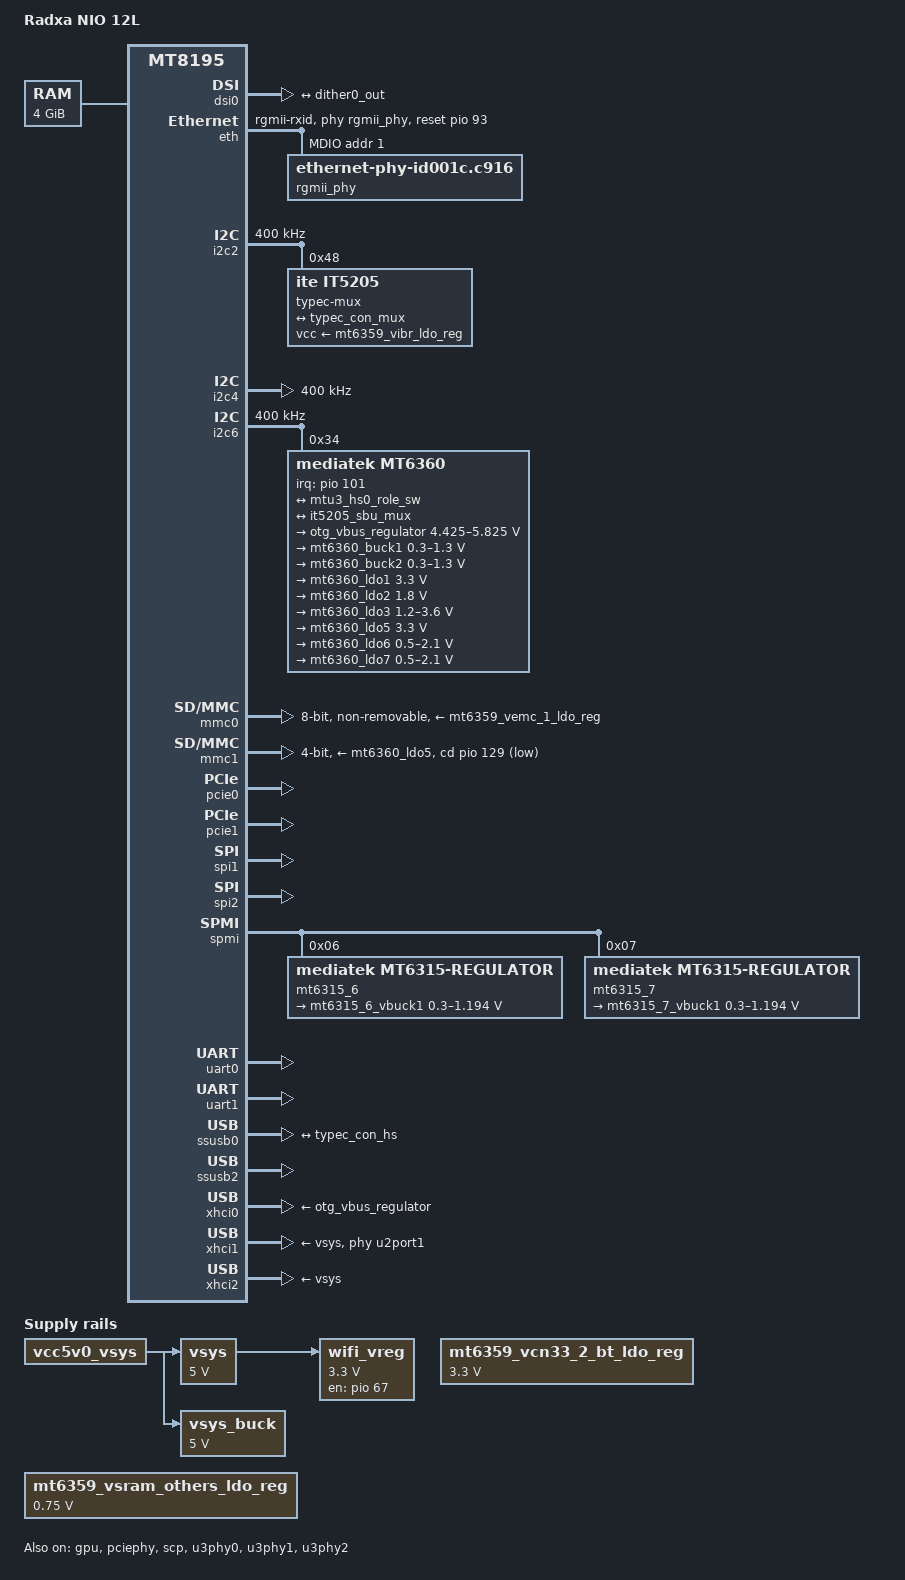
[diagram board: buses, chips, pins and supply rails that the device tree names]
// SPDX-License-Identifier: (GPL-2.0 OR MIT)
/*
 * Copyright (C) 2023 Radxa Limited
 * Copyright (C) 2024 Collabora Ltd.
 *                    AngeloGioacchino Del Regno <angelogioacchino.delregno@collabora.com>
 */

#include "mt8195.dtsi"
#include "mt6359.dtsi"
#include <dt-bindings/gpio/gpio.h>
#include <dt-bindings/interrupt-controller/irq.h>
#include <dt-bindings/pinctrl/mt8195-pinfunc.h>
#include <dt-bindings/regulator/mediatek,mt6360-regulator.h>
#include <dt-bindings/spmi/spmi.h>
#include <dt-bindings/usb/pd.h>

/ {
	model = "Radxa NIO 12L";
	chassis-type = "embedded";
	compatible = "radxa,nio-12l", "mediatek,mt8395", "mediatek,mt8195";

	aliases {
		i2c0 = &i2c2;
		i2c1 = &i2c3;
		i2c2 = &i2c4;
		i2c3 = &i2c0;
		i2c4 = &i2c1;
		ethernet0 = &eth;
		serial0 = &uart0;
		serial1 = &uart1;
		spi0 = &spi1;
		spi1 = &spi2;
	};

	chosen {
		stdout-path = "serial0:921600n8";
	};

	firmware {
		optee {
			compatible = "linaro,optee-tz";
			method = "smc";
		};
	};

	memory@40000000 {
		device_type = "memory";
		reg = <0 0x40000000 0x1 0x0>;
	};

	backlight: backlight {
		compatible = "pwm-backlight";
		brightness-levels = <0 1023>;
		default-brightness-level = <576>;
		enable-gpios = <&pio 107 GPIO_ACTIVE_HIGH>;
		num-interpolated-steps = <1023>;
		pinctrl-names = "default";
		pinctrl-0 = <&dsi0_backlight_pins>;
		pwms = <&disp_pwm0 0 500000>;
		status = "disabled";
	};

	wifi_vreg: regulator-wifi-3v3-en {
		compatible = "regulator-fixed";
		regulator-name = "wifi_3v3_en";
		regulator-always-on;
		regulator-min-microvolt = <3300000>;
		regulator-max-microvolt = <3300000>;
		enable-active-high;
		gpio = <&pio 67 GPIO_ACTIVE_HIGH>;
		pinctrl-names = "default";
		pinctrl-0 = <&wifi_vreg_pins>;
		vin-supply = <&vsys>;
	};

	/* system wide switching 5.0V power rail */
	vsys: regulator-vsys {
		compatible = "regulator-fixed";
		regulator-name = "vsys";
		regulator-always-on;
		regulator-boot-on;
		regulator-min-microvolt = <5000000>;
		regulator-max-microvolt = <5000000>;
		vin-supply = <&vcc5v0_vsys>;
	};

	vsys_buck: regulator-vsys-buck {
		compatible = "regulator-fixed";
		regulator-name = "vsys_buck";
		regulator-always-on;
		regulator-boot-on;
		regulator-min-microvolt = <5000000>;
		regulator-max-microvolt = <5000000>;
		vin-supply = <&vcc5v0_vsys>;
	};

	/* Rail from power-only "TYPE C DC" port */
	vcc5v0_vsys: regulator-vcc5v0-sys {
		compatible = "regulator-fixed";
		regulator-name = "vcc5v0_sys";
		regulator-always-on;
		regulator-boot-on;
	};

	reserved-memory {
		#address-cells = <2>;
		#size-cells = <2>;
		ranges;

		/*
		 * 12 MiB reserved for OP-TEE (BL32)
		 * +-----------------------+ 0x43e0_0000
		 * |      SHMEM 2MiB       |
		 * +-----------------------+ 0x43c0_0000
		 * |        | TA_RAM  8MiB |
		 * + TZDRAM +--------------+ 0x4340_0000
		 * |        | TEE_RAM 2MiB |
		 * +-----------------------+ 0x4320_0000
		 */
		optee_reserved: optee@43200000 {
			reg = <0 0x43200000 0 0xc00000>;
			no-map;
		};

		scp_mem: memory@50000000 {
			compatible = "shared-dma-pool";
			reg = <0 0x50000000 0 0x2900000>;
			no-map;
		};

		vpu_mem: memory@53000000 {
			compatible = "shared-dma-pool";
			reg = <0 0x53000000 0 0x1400000>; /* 20 MB */
		};

		/* 2 MiB reserved for ARM Trusted Firmware (BL31) */
		bl31_secmon_mem: memory@54600000 {
			reg = <0 0x54600000 0x0 0x200000>;
			no-map;
		};

		afe_mem: memory@60000000 {
			compatible = "shared-dma-pool";
			reg = <0 0x60000000 0 0x1100000>;
			no-map;
		};

		apu_mem: memory@62000000 {
			compatible = "shared-dma-pool";
			reg = <0 0x62000000 0 0x1400000>; /* 20 MB */
		};
	};
};

&cpu0 {
	cpu-supply = <&mt6359_vcore_buck_reg>;
};

&cpu1 {
	cpu-supply = <&mt6359_vcore_buck_reg>;
};

&cpu2 {
	cpu-supply = <&mt6359_vcore_buck_reg>;
};

&cpu3 {
	cpu-supply = <&mt6359_vcore_buck_reg>;
};

&cpu4 {
	cpu-supply = <&mt6315_6_vbuck1>;
};

&cpu5 {
	cpu-supply = <&mt6315_6_vbuck1>;
};

&cpu6 {
	cpu-supply = <&mt6315_6_vbuck1>;
};

&cpu7 {
	cpu-supply = <&mt6315_6_vbuck1>;
};

&dither0_out {
	remote-endpoint = <&dsi0_in>;
};

&dsi0 {
	#address-cells = <1>;
	#size-cells = <0>;

	ports {
		#address-cells = <1>;
		#size-cells = <0>;

		port@0 {
			reg = <0>;
			dsi0_in: endpoint {
				remote-endpoint = <&dither0_out>;
			};
		};

		port@1 {
			reg = <1>;
			dsi0_out: endpoint { };
		};
	};
};

&eth {
	phy-mode = "rgmii-rxid";
	phy-handle = <&rgmii_phy>;
	pinctrl-names = "default", "sleep";
	pinctrl-0 = <&eth_default_pins>;
	pinctrl-1 = <&eth_sleep_pins>;
	mediatek,tx-delay-ps = <2030>;
	mediatek,mac-wol;
	snps,reset-gpio = <&pio 93 GPIO_ACTIVE_HIGH>;
	snps,reset-delays-us = <0 20000 100000>;
	status = "okay";

	mdio {
		rgmii_phy: ethernet-phy@1 {
			compatible = "ethernet-phy-id001c.c916";
			reg = <0x1>;
		};
	};
};

&gpu {
	mali-supply = <&mt6315_7_vbuck1>;
	status = "okay";
};

&i2c2 {
	clock-frequency = <400000>;
	pinctrl-0 = <&i2c2_pins>;
	pinctrl-names = "default";
	status = "okay";

	typec-mux@48 {
		compatible = "ite,it5205";
		reg = <0x48>;

		mode-switch;
		orientation-switch;

		vcc-supply = <&mt6359_vibr_ldo_reg>;

		port {
			it5205_sbu_mux: endpoint {
				remote-endpoint = <&typec_con_mux>;
			};
		};
	};
};

&i2c4 {
	clock-frequency = <400000>;
	pinctrl-0 = <&i2c4_pins>;
	pinctrl-names = "default";
	status = "okay";

	/* I2C4 exposed at 39-pins MIPI-LCD connector */
};

&i2c6 {
	clock-frequency = <400000>;
	pinctrl-0 = <&i2c6_pins>;
	pinctrl-names = "default";
	status = "okay";

	mt6360: pmic@34 {
		compatible = "mediatek,mt6360";
		reg = <0x34>;
		interrupts-extended = <&pio 101 IRQ_TYPE_EDGE_FALLING>;
		interrupt-names = "IRQB";
		interrupt-controller;
		#interrupt-cells = <1>;
		pinctrl-0 = <&mt6360_pins>;

		charger {
			compatible = "mediatek,mt6360-chg";
			richtek,vinovp-microvolt = <14500000>;

			otg_vbus_regulator: usb-otg-vbus-regulator {
				regulator-name = "usb-otg-vbus";
				regulator-min-microvolt = <4425000>;
				regulator-max-microvolt = <5825000>;
			};
		};

		regulator {
			compatible = "mediatek,mt6360-regulator";
			LDO_VIN1-supply = <&vsys_buck>;
			LDO_VIN3-supply = <&mt6360_buck2>;

			mt6360_buck1: buck1 {
				regulator-name = "emi_vdd2";
				regulator-min-microvolt = <300000>;
				regulator-max-microvolt = <1300000>;
				regulator-allowed-modes = <MT6360_OPMODE_NORMAL
							   MT6360_OPMODE_LP
							   MT6360_OPMODE_ULP>;
				regulator-always-on;
			};

			mt6360_buck2: buck2 {
				regulator-name = "emi_vddq";
				regulator-min-microvolt = <300000>;
				regulator-max-microvolt = <1300000>;
				regulator-allowed-modes = <MT6360_OPMODE_NORMAL
							   MT6360_OPMODE_LP
							   MT6360_OPMODE_ULP>;
				regulator-always-on;
			};

			mt6360_ldo1: ldo1 {
				regulator-name = "ext_lcd_3v3";
				regulator-min-microvolt = <3300000>;
				regulator-max-microvolt = <3300000>;
				regulator-allowed-modes = <MT6360_OPMODE_NORMAL
							   MT6360_OPMODE_LP>;
				regulator-always-on;
			};

			mt6360_ldo2: ldo2 {
				regulator-name = "panel1_p1v8";
				regulator-min-microvolt = <1800000>;
				regulator-max-microvolt = <1800000>;
				regulator-allowed-modes = <MT6360_OPMODE_NORMAL
							   MT6360_OPMODE_LP>;
			};

			mt6360_ldo3: ldo3 {
				regulator-name = "vmc_pmu";
				regulator-min-microvolt = <1200000>;
				regulator-max-microvolt = <3600000>;
				regulator-allowed-modes = <MT6360_OPMODE_NORMAL
							   MT6360_OPMODE_LP>;
			};

			mt6360_ldo5: ldo5 {
				regulator-name = "vmch_pmu";
				regulator-min-microvolt = <3300000>;
				regulator-max-microvolt = <3300000>;
				regulator-allowed-modes = <MT6360_OPMODE_NORMAL
							   MT6360_OPMODE_LP>;
				regulator-always-on;
			};

			mt6360_ldo6: ldo6 {
				regulator-name = "mt6360_ldo6"; /* Test point */
				regulator-min-microvolt = <500000>;
				regulator-max-microvolt = <2100000>;
				regulator-allowed-modes = <MT6360_OPMODE_NORMAL
							   MT6360_OPMODE_LP>;
			};

			mt6360_ldo7: ldo7 {
				regulator-name = "emi_vmddr_en";
				regulator-min-microvolt = <500000>;
				regulator-max-microvolt = <2100000>;
				regulator-allowed-modes = <MT6360_OPMODE_NORMAL
							   MT6360_OPMODE_LP>;
				regulator-always-on;
			};
		};

		typec {
			compatible = "mediatek,mt6360-tcpc";
			interrupts-extended = <&pio 100 IRQ_TYPE_LEVEL_LOW>;
			interrupt-names = "PD_IRQB";

			connector {
				compatible = "usb-c-connector";
				label = "USB-C";
				data-role = "dual";
				op-sink-microwatt = <10000000>;
				power-role = "dual";
				try-power-role = "sink";

				source-pdos = <PDO_FIXED(5000, 1000,
							 PDO_FIXED_DUAL_ROLE |
							 PDO_FIXED_DATA_SWAP)>;
				sink-pdos = <PDO_FIXED(5000, 3000,
						       PDO_FIXED_DUAL_ROLE |
						       PDO_FIXED_DATA_SWAP)>;

				ports {
					#address-cells = <1>;
					#size-cells = <0>;

					port@0 {
						reg = <0>;
						typec_con_hs: endpoint {
							remote-endpoint = <&mtu3_hs0_role_sw>;
						};
					};

					port@2 {
						reg = <2>;
						typec_con_mux: endpoint {
							remote-endpoint = <&it5205_sbu_mux>;
						};
					};
				};
			};
		};
	};
};

&mfg0 {
	domain-supply = <&mt6315_7_vbuck1>;
};

&mfg1 {
	domain-supply = <&mt6359_vsram_others_ldo_reg>;
};

/* MMC0 Controller: eMMC (HS400). Power lines are shared with UFS! */
&mmc0 {
	pinctrl-names = "default", "state_uhs";
	pinctrl-0 = <&mmc0_default_pins>;
	pinctrl-1 = <&mmc0_uhs_pins>;
	bus-width = <8>;
	max-frequency = <200000000>;
	hs400-ds-delay = <0x14c11>;
	cap-mmc-highspeed;
	cap-mmc-hw-reset;
	mmc-hs200-1_8v;
	mmc-hs400-1_8v;
	no-sdio;
	no-sd;
	non-removable;
	vmmc-supply = <&mt6359_vemc_1_ldo_reg>;
	vqmmc-supply = <&mt6359_vufs_ldo_reg>;
	status = "okay";
};

/* MMC1 Controller: MicroSD card slot */
&mmc1 {
	pinctrl-names = "default", "state_uhs";
	pinctrl-0 = <&mmc1_default_pins>, <&mmc1_pins_detect>;
	pinctrl-1 = <&mmc1_default_pins>;
	bus-width = <4>;
	max-frequency = <200000000>;
	cap-sd-highspeed;
	cd-gpios = <&pio 129 GPIO_ACTIVE_LOW>;
	no-mmc;
	no-sdio;
	sd-uhs-sdr50;
	sd-uhs-sdr104;
	vmmc-supply = <&mt6360_ldo5>;
	vqmmc-supply = <&mt6360_ldo3>;
	status = "okay";
};

&mt6359_vaud18_ldo_reg {
	regulator-always-on;
};

&mt6359_vbbck_ldo_reg {
	regulator-always-on;
};

/* For USB Hub */
&mt6359_vcamio_ldo_reg {
	regulator-always-on;
};

&mt6359_vcn33_2_bt_ldo_reg {
	regulator-min-microvolt = <3300000>;
	regulator-max-microvolt = <3300000>;
};

&mt6359_vcore_buck_reg {
	regulator-always-on;
};

&mt6359_vgpu11_buck_reg {
	regulator-always-on;
};

&mt6359_vproc1_buck_reg {
	regulator-always-on;
};

&mt6359_vproc2_buck_reg {
	regulator-always-on;
};

&mt6359_vpu_buck_reg {
	regulator-always-on;
};

&mt6359_vrf12_ldo_reg {
	regulator-always-on;
};

&mt6359_vsram_md_ldo_reg {
	regulator-always-on;
};

/* for GPU SRAM */
&mt6359_vsram_others_ldo_reg {
	regulator-min-microvolt = <750000>;
	regulator-max-microvolt = <750000>;
};

&pio {
	mediatek,rsel-resistance-in-si-unit;

	dsi0_backlight_pins: dsi0-backlight-pins {
		pins-backlight-en {
			pinmux = <PINMUX_GPIO107__FUNC_GPIO107>;
			output-high;
		};
	};

	eth_default_pins: eth-default-pins {
		pins-cc {
			pinmux = <PINMUX_GPIO85__FUNC_GBE_TXC>,
				 <PINMUX_GPIO86__FUNC_GBE_RXC>,
				 <PINMUX_GPIO87__FUNC_GBE_RXDV>,
				 <PINMUX_GPIO88__FUNC_GBE_TXEN>;
			drive-strength = <8>;
		};

		pins-mdio {
			pinmux = <PINMUX_GPIO89__FUNC_GBE_MDC>,
				 <PINMUX_GPIO90__FUNC_GBE_MDIO>;
			input-enable;
		};

		pins-power {
			pinmux = <PINMUX_GPIO91__FUNC_GPIO91>,
				 <PINMUX_GPIO92__FUNC_GPIO92>;
			output-high;
		};

		pins-rst {
			pinmux = <PINMUX_GPIO93__FUNC_GPIO93>;
		};

		pins-rxd {
			pinmux = <PINMUX_GPIO81__FUNC_GBE_RXD3>,
				 <PINMUX_GPIO82__FUNC_GBE_RXD2>,
				 <PINMUX_GPIO83__FUNC_GBE_RXD1>,
				 <PINMUX_GPIO84__FUNC_GBE_RXD0>;
		};

		pins-txd {
			pinmux = <PINMUX_GPIO77__FUNC_GBE_TXD3>,
				 <PINMUX_GPIO78__FUNC_GBE_TXD2>,
				 <PINMUX_GPIO79__FUNC_GBE_TXD1>,
				 <PINMUX_GPIO80__FUNC_GBE_TXD0>;
			drive-strength = <8>;
		};
	};

	eth_sleep_pins: eth-sleep-pins {
		pins-cc {
			pinmux = <PINMUX_GPIO85__FUNC_GPIO85>,
				 <PINMUX_GPIO86__FUNC_GPIO86>,
				 <PINMUX_GPIO87__FUNC_GPIO87>,
				 <PINMUX_GPIO88__FUNC_GPIO88>;
		};

		pins-mdio {
			pinmux = <PINMUX_GPIO89__FUNC_GPIO89>,
				 <PINMUX_GPIO90__FUNC_GPIO90>;
			bias-disable;
			input-disable;
		};

		pins-rxd {
			pinmux = <PINMUX_GPIO81__FUNC_GPIO81>,
				 <PINMUX_GPIO82__FUNC_GPIO82>,
				 <PINMUX_GPIO83__FUNC_GPIO83>,
				 <PINMUX_GPIO84__FUNC_GPIO84>;
		};

		pins-txd {
			pinmux = <PINMUX_GPIO77__FUNC_GPIO77>,
				 <PINMUX_GPIO78__FUNC_GPIO78>,
				 <PINMUX_GPIO79__FUNC_GPIO79>,
				 <PINMUX_GPIO80__FUNC_GPIO80>;
		};
	};

	i2c2_pins: i2c2-pins {
		pins-bus {
			pinmux = <PINMUX_GPIO12__FUNC_SDA2>,
				 <PINMUX_GPIO13__FUNC_SCL2>;
			bias-pull-up = <1000>;
			drive-strength = <6>;
			drive-strength-microamp = <1000>;
		};
	};

	i2c4_pins: i2c4-pins {
		pins-bus {
			pinmux = <PINMUX_GPIO16__FUNC_SDA4>,
				 <PINMUX_GPIO17__FUNC_SCL4>;
			bias-pull-up = <1000>;
			drive-strength-microamp = <1000>;
		};
	};

	i2c6_pins: i2c6-pins {
		pins {
			pinmux = <PINMUX_GPIO25__FUNC_SDA6>,
				 <PINMUX_GPIO26__FUNC_SCL6>;
			bias-disable;
		};
	};

	mmc0_default_pins: mmc0-default-pins {
		pins-clk {
			pinmux = <PINMUX_GPIO122__FUNC_MSDC0_CLK>;
			bias-pull-down = <MTK_PUPD_SET_R1R0_10>;
			drive-strength = <6>;
		};

		pins-cmd-dat {
			pinmux = <PINMUX_GPIO126__FUNC_MSDC0_DAT0>,
				 <PINMUX_GPIO125__FUNC_MSDC0_DAT1>,
				 <PINMUX_GPIO124__FUNC_MSDC0_DAT2>,
				 <PINMUX_GPIO123__FUNC_MSDC0_DAT3>,
				 <PINMUX_GPIO119__FUNC_MSDC0_DAT4>,
				 <PINMUX_GPIO118__FUNC_MSDC0_DAT5>,
				 <PINMUX_GPIO117__FUNC_MSDC0_DAT6>,
				 <PINMUX_GPIO116__FUNC_MSDC0_DAT7>,
				 <PINMUX_GPIO121__FUNC_MSDC0_CMD>;
			bias-pull-up = <MTK_PUPD_SET_R1R0_01>;
			drive-strength = <6>;
			input-enable;
		};

		pins-rst {
			pinmux = <PINMUX_GPIO120__FUNC_MSDC0_RSTB>;
			bias-pull-up = <MTK_PUPD_SET_R1R0_01>;
			drive-strength = <6>;
		};
	};

	mmc0_uhs_pins: mmc0-uhs-pins {
		pins-clk {
			pinmux = <PINMUX_GPIO122__FUNC_MSDC0_CLK>;
			bias-pull-down = <MTK_PUPD_SET_R1R0_10>;
			drive-strength = <8>;
		};

		pins-cmd-dat {
			pinmux = <PINMUX_GPIO126__FUNC_MSDC0_DAT0>,
				 <PINMUX_GPIO125__FUNC_MSDC0_DAT1>,
				 <PINMUX_GPIO124__FUNC_MSDC0_DAT2>,
				 <PINMUX_GPIO123__FUNC_MSDC0_DAT3>,
				 <PINMUX_GPIO119__FUNC_MSDC0_DAT4>,
				 <PINMUX_GPIO118__FUNC_MSDC0_DAT5>,
				 <PINMUX_GPIO117__FUNC_MSDC0_DAT6>,
				 <PINMUX_GPIO116__FUNC_MSDC0_DAT7>,
				 <PINMUX_GPIO121__FUNC_MSDC0_CMD>;
			bias-pull-up = <MTK_PUPD_SET_R1R0_01>;
			drive-strength = <8>;
			input-enable;
		};

		pins-ds {
			pinmux = <PINMUX_GPIO127__FUNC_MSDC0_DSL>;
			bias-pull-down = <MTK_PUPD_SET_R1R0_10>;
			drive-strength = <8>;
		};

		pins-rst {
			pinmux = <PINMUX_GPIO120__FUNC_MSDC0_RSTB>;
			bias-pull-up = <MTK_PUPD_SET_R1R0_01>;
			drive-strength = <8>;
		};
	};

	mmc1_default_pins: mmc1-default-pins {
		pins-clk {
			pinmux = <PINMUX_GPIO111__FUNC_MSDC1_CLK>;
			bias-pull-down = <MTK_PUPD_SET_R1R0_10>;
			drive-strength = <8>;
		};

		pins-cmd-dat {
			pinmux = <PINMUX_GPIO110__FUNC_MSDC1_CMD>,
				 <PINMUX_GPIO112__FUNC_MSDC1_DAT0>,
				 <PINMUX_GPIO113__FUNC_MSDC1_DAT1>,
				 <PINMUX_GPIO114__FUNC_MSDC1_DAT2>,
				 <PINMUX_GPIO115__FUNC_MSDC1_DAT3>;
			bias-pull-up = <MTK_PUPD_SET_R1R0_01>;
			drive-strength = <8>;
			input-enable;
		};
	};

	mmc1_pins_detect: mmc1-detect-pins {
		pins-insert {
			pinmux = <PINMUX_GPIO129__FUNC_GPIO129>;
			bias-pull-up;
		};
	};

	mt6360_pins: mt6360-pins {
		pins-irq {
			pinmux = <PINMUX_GPIO100__FUNC_GPIO100>,
				 <PINMUX_GPIO101__FUNC_GPIO101>;
			input-enable;
			bias-pull-up;
		};
	};

	panel_default_pins: panel-pins {
		pins-rst {
			pinmux = <PINMUX_GPIO108__FUNC_GPIO108>;
			bias-pull-up;
		};
	};

	pcie0_default_pins: pcie0-default-pins {
		pins-bus {
			pinmux = <PINMUX_GPIO19__FUNC_WAKEN>,
				 <PINMUX_GPIO20__FUNC_PERSTN>,
				 <PINMUX_GPIO21__FUNC_CLKREQN>;
			bias-pull-up;
		};
	};

	pcie1_default_pins: pcie1-default-pins {
		pins-bus {
			pinmux = <PINMUX_GPIO0__FUNC_PERSTN_1>,
				 <PINMUX_GPIO1__FUNC_CLKREQN_1>,
				 <PINMUX_GPIO2__FUNC_WAKEN_1>;
			bias-disable;
		};
	};

	pwm0_default_pins: pwm0-pins {
		pins-disp-pwm {
			pinmux = <PINMUX_GPIO97__FUNC_DISP_PWM0>;
		};
	};

	spi1_pins: spi1-default-pins {
		pins-bus {
			pinmux = <PINMUX_GPIO136__FUNC_SPIM1_CSB>,
				 <PINMUX_GPIO137__FUNC_SPIM1_CLK>,
				 <PINMUX_GPIO138__FUNC_SPIM1_MO>,
				 <PINMUX_GPIO139__FUNC_SPIM1_MI>;
			bias-disable;
		};
	};

	spi2_pins: spi2-default-pins {
		pins-bus {
			pinmux = <PINMUX_GPIO140__FUNC_SPIM2_CSB>,
				 <PINMUX_GPIO141__FUNC_SPIM2_CLK>,
				 <PINMUX_GPIO142__FUNC_SPIM2_MO>,
				 <PINMUX_GPIO143__FUNC_SPIM2_MI>;
			bias-disable;
		};
	};

	touch_pins: touch-pins {
		pins-touch-int {
			pinmux = <PINMUX_GPIO132__FUNC_GPIO132>;
			input-enable;
			bias-disable;
		};

		pins-touch-rst {
			pinmux = <PINMUX_GPIO133__FUNC_GPIO133>;
			output-high;
		};
	};

	uart0_pins: uart0-pins {
		pins-bus {
			pinmux = <PINMUX_GPIO98__FUNC_UTXD0>,
				 <PINMUX_GPIO99__FUNC_URXD0>;
		};
	};

	uart1_pins: uart1-pins {
		pins-bus {
			pinmux = <PINMUX_GPIO102__FUNC_UTXD1>,
				 <PINMUX_GPIO103__FUNC_URXD1>;
		};
	};

	usb3_port0_pins: usb3p0-default-pins {
		pins-vbus {
			pinmux = <PINMUX_GPIO63__FUNC_VBUSVALID>;
			input-enable;
		};
	};

	usb2_port0_pins: usb2p0-default-pins {
		pins-iddig {
			pinmux = <PINMUX_GPIO130__FUNC_IDDIG_1P>;
			input-enable;
			bias-pull-up;
		};

		pins-vbus {
			pinmux = <PINMUX_GPIO131__FUNC_USB_DRVVBUS_1P>;
			output-low;
		};
	};

	wifi_vreg_pins: wifi-vreg-pins {
		pins-wifi-pmu-en {
			pinmux = <PINMUX_GPIO65__FUNC_GPIO65>;
			output-high;
		};

		pins-wifi-vreg-en {
			pinmux = <PINMUX_GPIO67__FUNC_GPIO67>;
		};
	};
};

&pcie0 {
	pinctrl-names = "default";
	pinctrl-0 = <&pcie0_default_pins>;
	status = "okay";
};

&pcie1 {
	pinctrl-names = "default";
	pinctrl-0 = <&pcie1_default_pins>;
	status = "okay";
};

&pciephy {
	status = "okay";
};

&pmic {
	interrupts-extended = <&pio 222 IRQ_TYPE_LEVEL_HIGH>;
};

&scp {
	memory-region = <&scp_mem>;
	status = "okay";
};

&spi1 {
	/* Exposed at 40 pin connector */
	pinctrl-0 = <&spi1_pins>;
	pinctrl-names = "default";
	mediatek,pad-select = <0>;
	#address-cells = <1>;
	#size-cells = <0>;
	status = "okay";
};

&spi2 {
	/* Exposed at 40 pin connector */
	pinctrl-0 = <&spi2_pins>;
	pinctrl-names = "default";
	mediatek,pad-select = <0>;
	#address-cells = <1>;
	#size-cells = <0>;
	status = "okay";
};

&spmi {
	#address-cells = <2>;
	#size-cells = <0>;

	mt6315_6: pmic@6 {
		compatible = "mediatek,mt6315-regulator";
		reg = <0x6 SPMI_USID>;

		regulators {
			mt6315_6_vbuck1: vbuck1 {
				regulator-name = "Vbcpu";
				regulator-min-microvolt = <300000>;
				regulator-max-microvolt = <1193750>;
				regulator-enable-ramp-delay = <256>;
				regulator-allowed-modes = <0 1 2>;
				regulator-always-on;
			};
		};
	};

	mt6315_7: pmic@7 {
		compatible = "mediatek,mt6315-regulator";
		reg = <0x7 SPMI_USID>;

		regulators {
			mt6315_7_vbuck1: vbuck1 {
				regulator-name = "Vgpu";
				regulator-min-microvolt = <300000>;
				regulator-max-microvolt = <1193750>;
				regulator-enable-ramp-delay = <256>;
				regulator-allowed-modes = <0 1 2>;
			};
		};
	};
};

&u3phy0 {
	status = "okay";
};

&u3phy1 {
	status = "okay";
};

&u3phy2 {
	status = "okay";
};

&uart0 {
	/* Exposed at 40 pin connector */
	pinctrl-0 = <&uart0_pins>;
	pinctrl-names = "default";
	status = "okay";
};

&uart1 {
	/* Exposed at 40 pin connector */
	pinctrl-0 = <&uart1_pins>;
	pinctrl-names = "default";
	status = "okay";
};

&ssusb0 {
	pinctrl-names = "default";
	pinctrl-0 = <&usb3_port0_pins>;
	role-switch-default-mode = "host";
	usb-role-switch;
	vusb33-supply = <&mt6359_vusb_ldo_reg>;
	status = "okay";

	port {
		mtu3_hs0_role_sw: endpoint {
			remote-endpoint = <&typec_con_hs>;
		};
	};
};

&ssusb2 {
	pinctrl-names = "default";
	pinctrl-0 = <&usb2_port0_pins>;
	vusb33-supply = <&mt6359_vusb_ldo_reg>;
	status = "okay";
};

&xhci0 {
	vbus-supply = <&otg_vbus_regulator>;
	status = "okay";
};

&xhci1 {
	phys = <&u2port1 PHY_TYPE_USB2>;
	/* MT7921's USB Bluetooth has issues with USB2 LPM */
	usb2-lpm-disable;
	vusb33-supply = <&mt6359_vusb_ldo_reg>;
	vbus-supply = <&vsys>;
	mediatek,u3p-dis-msk = <1>;
	status = "okay";
};

&xhci2 {
	vbus-supply = <&vsys>;
	status = "okay";
};
